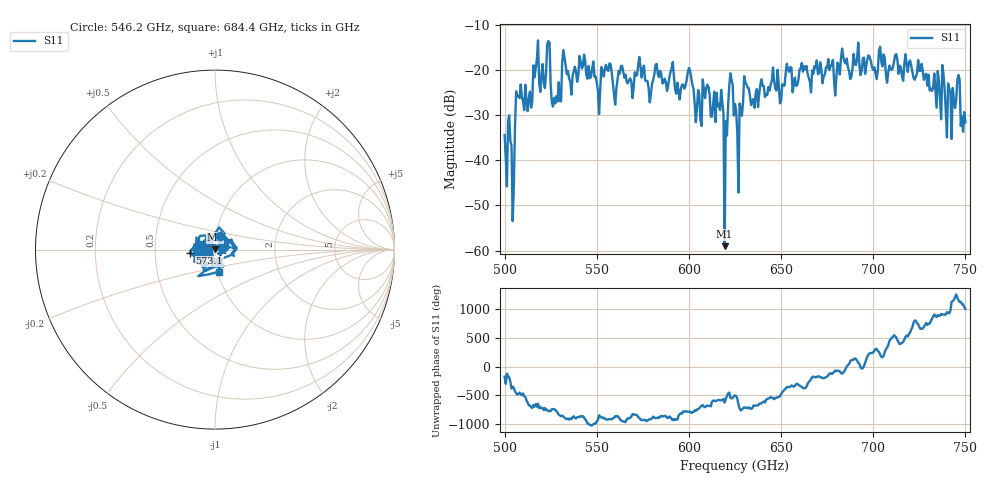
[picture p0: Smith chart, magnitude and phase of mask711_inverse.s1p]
!Created with skrf (http://scikit-rf.org).
# GHz S MA R 50.0
!freq magS11 angS11
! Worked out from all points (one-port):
!   401 points, 500 GHz to 750 GHz, reference 50 ohm
!   lowest |S11| = -59.0 dB at 619.4 GHz (marker M1), VSWR 1.00, Z = 50 + j0.111 ohm
!   |S11| at or under -10 dB: start of sweep to end of sweep
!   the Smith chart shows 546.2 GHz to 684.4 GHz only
!   S11 on the Smith chart (normalised r, x): 546.2 GHz: 1.05, +0.16; 573.1 GHz: 0.75, -0.03; 684.4 GHz: 1.01, -0.25
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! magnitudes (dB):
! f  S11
! 500 GHz  -34.4
! 504.4 GHz  -53.5
! 507.5 GHz  -25.7
! 513.8 GHz  -24.7
! 516.9 GHz  -19.4
! 520.6 GHz  -18.6
! 523.8 GHz  -13.5
! 526.9 GHz  -26.1
! 531.2 GHz  -18.2
! 546.2 GHz  -21.7
! 562.5 GHz  -20.7
! 573.1 GHz  -17.0
! 593.8 GHz  -22.7
! 600 GHz  -19.5
! 605 GHz  -24.4
! 616.2 GHz  -27.5
! 619.4 GHz  -59.0
! 622.5 GHz  -20.6
! 625 GHz  -27.5
! 627.5 GHz  -27.3
! 631.2 GHz  -23.1
! 656.2 GHz  -24.9
! 684.4 GHz  -18.1
! 687.5 GHz  -21.9
! 718.8 GHz  -20.3
! 741.2 GHz  -24.1
! 745.6 GHz  -22.2
! 750 GHz  -31.5
